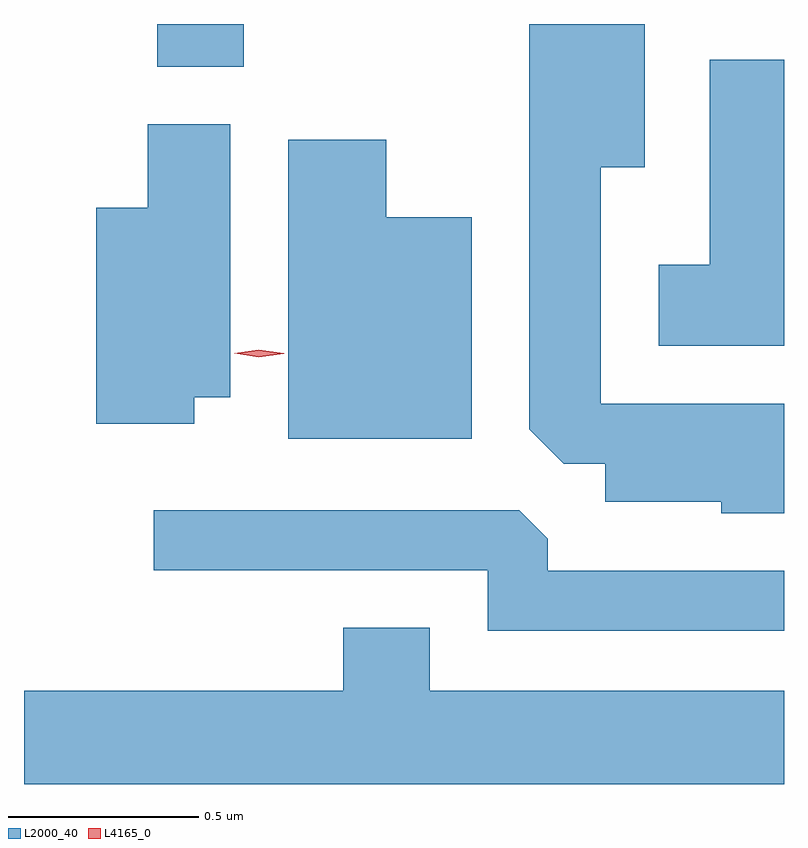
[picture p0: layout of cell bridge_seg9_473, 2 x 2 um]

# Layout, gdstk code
import gdstk
lib = gdstk.Library(unit=1e-6, precision=1e-09)
def R(c, l, rs):  # rectangles x0, y0, x1, y1
    for r in rs: c.add(gdstk.rectangle(r[:2], r[2:], *l))
def P(c, l, *ps):  # polygons
    for p in ps: c.add(gdstk.Polygon(p, *l))
L2000_40 = (2000, 40)
L4165_0 = (4165, 0)

bridge_seg9_473 = lib.new_cell('bridge_seg9_473')
R(bridge_seg9_473, L2000_40, [(322.991,2042.566,323.219,2042.678)])
P(bridge_seg9_473, L2000_40, [(324.641,2041.679),(324.159,2041.679),(324.159,2042.301),(324.274,2042.301),(324.274,2042.678),(323.971,2042.678),(323.971,2041.612),(324.062,2041.521),(324.171,2041.521),(324.171,2041.421),(324.476,2041.421),(324.476,2041.391),(324.641,2041.391)],
  [(324.641,2042.584),(324.446,2042.584),(324.446,2042.044),(324.311,2042.044),(324.311,2041.831),(324.641,2041.831)],
  [(323.089,2041.696),(323.184,2041.696),(323.184,2042.414),(322.966,2042.414),(322.966,2042.194),(322.831,2042.194),(322.831,2041.626),(323.089,2041.626)],
  [(323.819,2042.169),(323.594,2042.169),(323.594,2042.374),(323.336,2042.374),(323.336,2041.586),(323.819,2041.586)],
  [(324.641,2041.239),(324.019,2041.239),(324.019,2041.324),(323.944,2041.399),(322.983,2041.399),(322.983,2041.241),(323.861,2041.241),(323.861,2041.081),(324.641,2041.081)],
  [(324.641,2040.924),(323.709,2040.924),(323.709,2041.089),(323.481,2041.089),(323.481,2040.924),(322.641,2040.924),(322.641,2040.678),(324.641,2040.678)])
P(bridge_seg9_473, L4165_0, [(323.259,2041.801),(323.194,2041.811),(323.193,2041.811),(323.194,2041.812),(323.259,2041.821),(323.325,2041.811),(323.326,2041.811),(323.325,2041.81)])

lib.write_gds('bridge_seg9_473.gds')
